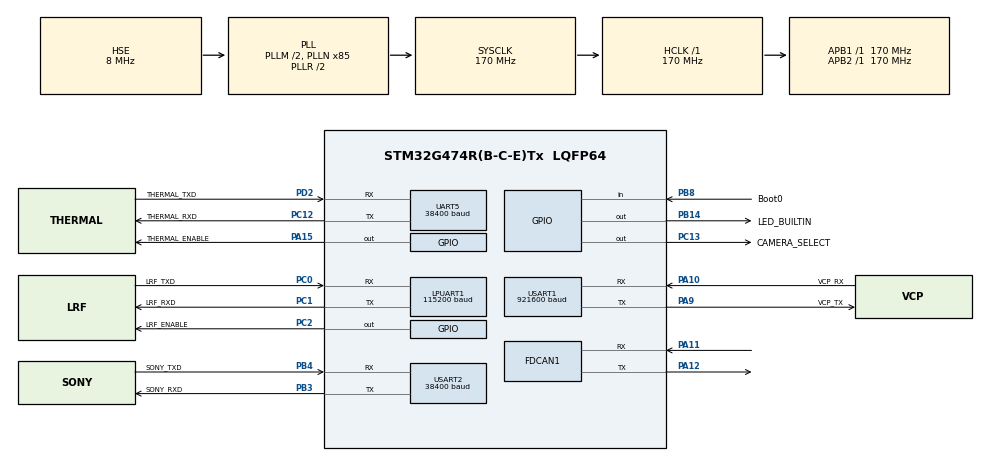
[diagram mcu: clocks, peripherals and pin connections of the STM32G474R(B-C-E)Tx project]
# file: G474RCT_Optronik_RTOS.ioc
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Dma.LPUART1_RX.0.Direction=DMA_PERIPH_TO_MEMORY
Dma.LPUART1_RX.0.EventEnable=DISABLE
Dma.LPUART1_RX.0.Instance=DMA1_Channel1
Dma.LPUART1_RX.0.MemDataAlignment=DMA_MDATAALIGN_BYTE
Dma.LPUART1_RX.0.MemInc=DMA_MINC_ENABLE
Dma.LPUART1_RX.0.Mode=DMA_NORMAL
Dma.LPUART1_RX.0.PeriphDataAlignment=DMA_PDATAALIGN_BYTE
Dma.LPUART1_RX.0.PeriphInc=DMA_PINC_DISABLE
Dma.LPUART1_RX.0.Polarity=HAL_DMAMUX_REQ_GEN_RISING
Dma.LPUART1_RX.0.Priority=DMA_PRIORITY_LOW
Dma.LPUART1_RX.0.RequestNumber=1
Dma.LPUART1_RX.0.SignalID=NONE
Dma.LPUART1_RX.0.SyncEnable=DISABLE
Dma.LPUART1_RX.0.SyncPolarity=HAL_DMAMUX_SYNC_NO_EVENT
Dma.LPUART1_RX.0.SyncRequestNumber=1
Dma.LPUART1_RX.0.SyncSignalID=NONE
Dma.Request0=LPUART1_RX
FDCAN1.ClockDivider=FDCAN_CLOCK_DIV2
FDCAN1.DataSyncJumpWidth=8
FDCAN1.DataTimeSeg1=8
FDCAN1.DataTimeSeg2=8
FDCAN1.ExtFiltersNbr=8
FDCAN1.FrameFormat=FDCAN_FRAME_FD_BRS
FDCAN1.NominalSyncJumpWidth=22
FDCAN1.NominalTimeSeg1=147
FDCAN1.NominalTimeSeg2=22
FDCAN1.StdFiltersNbr=28
FREERTOS.INCLUDE_vTaskDelayUntil=1
FREERTOS.Mutexes01=m_camera_state,Dynamic,NULL;m_lrf_state,Dynamic,NULL
FREERTOS.Queues01=q_camera,6,uint8_t,0,Dynamic,NULL,NULL;q_lrf,6,uint8_t,0,Dynamic,NULL,NULL;q_manager,6,uint16_t,0,Dynamic,NULL,NULL
FREERTOS.Tasks01=TManager,2,256,t_manager,As weak,NULL,Dynamic,NULL,NULL;TBusSend,-2,256,t_bus_send,As external,NULL,Dynamic,NULL,NULL;TCamera,-1,768,t_camera,As external,NULL,Dynamic,NULL,NULL;TLrf,0,512,t_lrf,As external,NULL,Dynamic,NULL,NULL;TBusRecv,1,512,t_bus_recv,As external,NULL,Dynamic,NULL,NULL
FREERTOS.Timers01=cameraNotifTimer,osTimerCameraNotifCallback,osTimerPeriodic,As external,NULL,Dynamic,NULL;cameraTimeoutTimer,osTimerCameraTimeoutCallback,osTimerOnce,As external,NULL,Dynamic,NULL;lrfNotifTimer,osTimerLrfNotifCallback,osTimerPeriodic,As external,NULL,Dynamic,NULL;lrfTimeoutTimer,osTimerLrfTimeoutCallback,osTimerOnce,As external,NULL,Dynamic,NULL
FREERTOS.configTOTAL_HEAP_SIZE=0x10000
FREERTOS.configUSE_TIMERS=1
IWDG.Prescaler=IWDG_PRESCALER_32
IWDG.Reload=2000
IWDG.Window=2000
LPUART1.BaudRate=115200
LPUART1.ClockPrescaler=UART_PRESCALER_DIV1
LPUART1.OverrunDisableParam=UART_ADVFEATURE_OVERRUN_DISABLE
Mcu.Family=STM32G4
Mcu.Name=STM32G474R(B-C-E)Tx
Mcu.Package=LQFP64
NVIC.DMA1_Channel1_IRQn=true\:5\:0\:false\:false\:true\:true\:false\:true\:true
NVIC.FDCAN1_IT0_IRQn=true\:5\:0\:true\:false\:true\:true\:true\:true\:true
NVIC.LPUART1_IRQn=true\:5\:0\:false\:false\:true\:true\:true\:true\:true
NVIC.PriorityGroup=NVIC_PRIORITYGROUP_4
NVIC.TIM20_UP_IRQn=true\:15\:0\:false\:false\:true\:false\:false\:true\:true
NVIC.TimeBase=TIM20_UP_IRQn
NVIC.TimeBaseIP=TIM20
NVIC.UART5_IRQn=true\:5\:0\:false\:false\:false\:true\:true\:true\:true
NVIC.USART2_IRQn=true\:5\:0\:false\:false\:false\:true\:true\:true\:true
PA10.GPIO_Label=VCP_RX
PA10.GPIO_PuPd=GPIO_PULLUP
PA10.GPIO_Speed=GPIO_SPEED_FREQ_VERY_HIGH
PA10.Mode=Asynchronous
PA10.Signal=USART1_RX
PA11.GPIO_PuPd=GPIO_PULLUP
PA11.GPIO_Speed=GPIO_SPEED_FREQ_VERY_HIGH
PA11.Mode=FDCAN_Activate
PA11.Signal=FDCAN1_RX
PA12.GPIO_Speed=GPIO_SPEED_FREQ_VERY_HIGH
PA12.Mode=FDCAN_Activate
PA12.Signal=FDCAN1_TX
PA13.Mode=Serial_Wire
PA13.Signal=SYS_JTMS-SWDIO
PA14.Mode=Serial_Wire
PA14.Signal=SYS_JTCK-SWCLK
PA15.GPIO_Label=THERMAL_ENABLE
PA15.Signal=GPIO_Output
PA2.Signal=QUADSPI1_BK1_NCS
PA3.Signal=QUADSPI1_CLK
PA6.Signal=QUADSPI1_BK1_IO3
PA7.Signal=QUADSPI1_BK1_IO2
PA9.GPIO_Label=VCP_TX
PA9.GPIO_PuPd=GPIO_PULLUP
PA9.GPIO_Speed=GPIO_SPEED_FREQ_VERY_HIGH
PA9.Mode=Asynchronous
PA9.Signal=USART1_TX
PB0.Signal=QUADSPI1_BK1_IO1
PB1.Signal=QUADSPI1_BK1_IO0
PB14.GPIO_Label=LED_BUILTIN
PB14.GPIO_ModeDefaultOutputPP=GPIO_MODE_OUTPUT_PP
PB14.PinState=GPIO_PIN_SET
PB14.Signal=GPIO_Output
PB3.GPIO_Label=SONY_RXD
PB3.GPIO_PuPd=GPIO_NOPULL
PB3.GPIO_Speed=GPIO_SPEED_FREQ_VERY_HIGH
PB3.Mode=Asynchronous
PB3.Signal=USART2_TX
PB4.GPIO_Label=SONY_TXD
PB4.GPIO_PuPd=GPIO_PULLUP
PB4.GPIO_Speed=GPIO_SPEED_FREQ_VERY_HIGH
PB4.Mode=Asynchronous
PB4.Signal=USART2_RX
PB8-BOOT0.GPIO_Label=Boot0
PB8-BOOT0.Signal=GPIO_Input
PC0.GPIO_Label=LRF_TXD
PC0.GPIO_PuPd=GPIO_PULLUP
PC0.GPIO_Speed=GPIO_SPEED_FREQ_HIGH
PC0.Mode=Asynchronous
PC0.Signal=LPUART1_RX
PC1.GPIO_Label=LRF_RXD
PC1.GPIO_PuPd=GPIO_NOPULL
PC1.GPIO_Speed=GPIO_SPEED_FREQ_HIGH
PC1.Mode=Asynchronous
PC1.Signal=LPUART1_TX
PC10.GPIO_Label=IMU_RXD
PC10.GPIO_PuPd=GPIO_PULLUP
PC10.GPIO_Speed=GPIO_SPEED_FREQ_VERY_HIGH
PC10.Signal=UART4_TX
PC11.GPIO_Label=IMU_TXD
PC11.GPIO_PuPd=GPIO_PULLUP
PC11.GPIO_Speed=GPIO_SPEED_FREQ_VERY_HIGH
PC11.Signal=UART4_RX
PC12.GPIO_Label=THERMAL_RXD
PC12.GPIO_PuPd=GPIO_NOPULL
PC12.GPIO_Speed=GPIO_SPEED_FREQ_VERY_HIGH
PC12.Mode=Asynchronous
PC12.Signal=UART5_TX
PC13.GPIO_Label=CAMERA_SELECT
PC13.GPIO_PuPd=GPIO_PULLUP
PC13.Signal=GPIO_Output
PC2.GPIO_Label=LRF_ENABLE
PC2.GPIO_PuPd=GPIO_NOPULL
PC2.PinState=GPIO_PIN_SET
PC2.Signal=GPIO_Output
PD2.GPIO_Label=THERMAL_TXD
PD2.GPIO_PuPd=GPIO_PULLUP
PD2.GPIO_Speed=GPIO_SPEED_FREQ_VERY_HIGH
PD2.Mode=Asynchronous
PD2.Signal=UART5_RX
PF0-OSC_IN.Mode=HSE-External-Oscillator
PF0-OSC_IN.Signal=RCC_OSC_IN
PF1-OSC_OUT.Mode=HSE-External-Oscillator
PF1-OSC_OUT.Signal=RCC_OSC_OUT
ProjectManager.HeapSize=0x200
ProjectManager.StackSize=0x400
ProjectManager.TargetToolchain=STM32CubeIDE
RCC.ADC12Freq_Value=170000000
RCC.ADC345Freq_Value=170000000
RCC.AHBFreq_Value=170000000
RCC.APB1Freq_Value=170000000
RCC.APB1TimFreq_Value=170000000
RCC.APB2Freq_Value=170000000
RCC.APB2TimFreq_Value=170000000
RCC.CortexFreq_Value=170000000
RCC.EXTERNAL_CLOCK_VALUE=12288000
RCC.EnbaleCSS=true
RCC.HCLKFreq_Value=170000000
RCC.HSE_VALUE=8000000
RCC.HSI48_VALUE=48000000
RCC.HSI_VALUE=16000000
RCC.LPUART1CLockSelection=RCC_LPUART1CLKSOURCE_HSI
RCC.LSE_VALUE=32768
RCC.PLLM=RCC_PLLM_DIV2
RCC.PLLN=85
RCC.PLLSourceVirtual=RCC_PLLSOURCE_HSE
RCC.SYSCLKFreq_VALUE=170000000
RCC.SYSCLKSource=RCC_SYSCLKSOURCE_PLLCLK
RCC.USBFreq_Value=170000000
RCC.VCOOutputFreq_Value=340000000
UART5.BaudRate=38400
USART1.BaudRate=921600
USART1.VirtualMode-Asynchronous=VM_ASYNC
USART2.AutoBaudRateEnableParam=UART_ADVFEATURE_AUTOBAUDRATE_DISABLE
USART2.BaudRate=38400
USART2.OneBitSampling=UART_ONE_BIT_SAMPLE_DISABLE
USART2.VirtualMode-Asynchronous=VM_ASYNC
USART2.WordLength=WORDLENGTH_8B
VP_FREERTOS_VS_CMSIS_V1.Mode=CMSIS_V1
VP_IWDG_VS_IWDG.Mode=IWDG_Activate
VP_SYS_VS_DBSignals.Mode=DisableDeadBatterySignals
VP_SYS_VS_tim20.Mode=TIM20
board=custom

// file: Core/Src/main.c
/* USER CODE BEGIN Header */
/**
 ******************************************************************************
 * @file           : main.c
 * @brief          : Main program body
 ******************************************************************************
 * @attention
 *
 * Copyright (c) 2021 STMicroelectronics.
 * All rights reserved.
 *
 * This software is licensed under terms that can be found in the LICENSE file
 * in the root directory of this software component.
 * If no LICENSE file comes with this software, it is provided AS-IS.
 *
 ******************************************************************************
 */
/* USER CODE END Header */
#include "main.h"
#include "cmsis_os.h"
#include "dma.h"
#include "fdcan.h"
#include "iwdg.h"
#include "usart.h"
#include "gpio.h"

/* USER CODE BEGIN Includes */
#include <stdio.h>

#include "app/common.h"
#include "driver/uartTerminal/uartTerminal.h"
/* USER CODE END Includes */

/* USER CODE BEGIN PD */
#if DEBUG_ENABLE==1
/*** Internal Const Values, Macros ***/
#	define LOG(str, ...) printf("[%ld %s:%d] " str, HAL_GetTick(), __FILENAME__, __LINE__, ##__VA_ARGS__)
#	define LOG_E(str, ...) printf("[%s Err:%d] " str, __FILENAME__, __LINE__, ##__VA_ARGS__)
#else
#	define LOG(str, ...)
#	define LOG_E(str, ...)

#endif	//if DEBUG_ENABLE==1

/* USER CODE END PD */

/* USER CODE BEGIN PV */
reset_cause_e g_reset_cause;
/* USER CODE END PV */

void SystemClock_Config(void);
void MX_FREERTOS_Init(void);

/* USER CODE BEGIN 0 */
static reset_cause_e get_reset_source()
{
	reset_cause_e ret = RESET_CAUSE_UNKNOWN;

	if (__HAL_RCC_GET_FLAG(RCC_FLAG_LPWRRST))
		ret = RESET_CAUSE_LOW_POWER_RESET;
	else if (__HAL_RCC_GET_FLAG(RCC_FLAG_WWDGRST))
		ret = RESET_CAUSE_WINDOW_WATCHDOG_RESET;
	else if (__HAL_RCC_GET_FLAG(RCC_FLAG_IWDGRST))
		ret = RESET_CAUSE_INDEPENDENT_WATCHDOG_RESET;
	else if (__HAL_RCC_GET_FLAG(RCC_FLAG_SFTRST))
		/* This reset is induced by calling the ARM CMSIS */
		/* `NVIC_SystemReset()` function! */
		ret = RESET_CAUSE_SOFTWARE_RESET;
	else if (__HAL_RCC_GET_FLAG(RCC_FLAG_PINRST))
		ret = RESET_CAUSE_EXTERNAL_RESET_PIN_RESET;

	return ret;
}

/* USER CODE END 0 */

int main(void)
{
  /* USER CODE BEGIN 1 */
	g_reset_cause = get_reset_source();
	__HAL_RCC_CLEAR_RESET_FLAGS();

  /* USER CODE END 1 */

  /* MCU Configuration--------------------------------------------------------*/

  /* Reset of all peripherals, Initializes the Flash interface and the Systick. */
  HAL_Init();

  /* Configure the system clock */
  SystemClock_Config();

  /* Initialize all configured peripherals */
  MX_GPIO_Init();
  MX_USART1_UART_Init();
  MX_USART2_UART_Init();
  MX_FDCAN1_Init();
  MX_DMA_Init();
  MX_LPUART1_UART_Init();
  MX_UART5_Init();
  MX_IWDG_Init();
  /* USER CODE BEGIN 2 */
	retarget_init();

	LOG("====\r\n");
	LOG("Optronik firmware!\r\n");
	LOG("====\r\n");

	if ((g_reset_cause == RESET_CAUSE_INDEPENDENT_WATCHDOG_RESET)
			|| (g_reset_cause == RESET_CAUSE_SOFTWARE_RESET)) {
		LOG("system is reset from IWDG or s/w reset!\r\n");
	}

	if (g_reset_cause == RESET_CAUSE_EXTERNAL_RESET_PIN_RESET)
		LOG("do you reset this chip?\r\n");

  /* USER CODE END 2 */

  /* Call init function for freertos objects (in freertos.c) */
  MX_FREERTOS_Init();
  /* Start scheduler */
  osKernelStart();

  /* We should never get here as control is now taken by the scheduler */
  /* Infinite loop */
	while (1) {

	}
}

void SystemClock_Config(void)
{
  RCC_OscInitTypeDef RCC_OscInitStruct = {0};
  RCC_ClkInitTypeDef RCC_ClkInitStruct = {0};

  /** Configure the main internal regulator output voltage
  */
  HAL_PWREx_ControlVoltageScaling(PWR_REGULATOR_VOLTAGE_SCALE1_BOOST);
  /** Initializes the RCC Oscillators according to the specified parameters
  * in the RCC_OscInitTypeDef structure.
  */
  RCC_OscInitStruct.OscillatorType = RCC_OSCILLATORTYPE_HSI|RCC_OSCILLATORTYPE_LSI
                              |RCC_OSCILLATORTYPE_HSE;
  RCC_OscInitStruct.HSEState = RCC_HSE_ON;
  RCC_OscInitStruct.HSIState = RCC_HSI_ON;
  RCC_OscInitStruct.HSICalibrationValue = RCC_HSICALIBRATION_DEFAULT;
  RCC_OscInitStruct.LSIState = RCC_LSI_ON;
  RCC_OscInitStruct.PLL.PLLState = RCC_PLL_ON;
  RCC_OscInitStruct.PLL.PLLSource = RCC_PLLSOURCE_HSE;
  RCC_OscInitStruct.PLL.PLLM = RCC_PLLM_DIV2;
  RCC_OscInitStruct.PLL.PLLN = 85;
  RCC_OscInitStruct.PLL.PLLP = RCC_PLLP_DIV2;
  RCC_OscInitStruct.PLL.PLLQ = RCC_PLLQ_DIV2;
  RCC_OscInitStruct.PLL.PLLR = RCC_PLLR_DIV2;
  if (HAL_RCC_OscConfig(&RCC_OscInitStruct) != HAL_OK)
  {
    Error_Handler();
  }
  /** Initializes the CPU, AHB and APB buses clocks
  */
  RCC_ClkInitStruct.ClockType = RCC_CLOCKTYPE_HCLK|RCC_CLOCKTYPE_SYSCLK
                              |RCC_CLOCKTYPE_PCLK1|RCC_CLOCKTYPE_PCLK2;
  RCC_ClkInitStruct.SYSCLKSource = RCC_SYSCLKSOURCE_PLLCLK;
  RCC_ClkInitStruct.AHBCLKDivider = RCC_SYSCLK_DIV1;
  RCC_ClkInitStruct.APB1CLKDivider = RCC_HCLK_DIV1;
  RCC_ClkInitStruct.APB2CLKDivider = RCC_HCLK_DIV1;

  if (HAL_RCC_ClockConfig(&RCC_ClkInitStruct, FLASH_LATENCY_4) != HAL_OK)
  {
    Error_Handler();
  }
  /** Enables the Clock Security System
  */
  HAL_RCC_EnableCSS();
}

void HAL_TIM_PeriodElapsedCallback(TIM_HandleTypeDef *htim)
{
  if (htim->Instance == TIM20) {
    HAL_IncTick();
  }
}

void Error_Handler(void)
{
	__disable_irq();
	while (1) {
	}
}

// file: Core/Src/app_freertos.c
/* USER CODE BEGIN Header */
/**
 ******************************************************************************
 * File Name          : app_freertos.c
 * Description        : Code for freertos applications
 ******************************************************************************
 * @attention
 *
 * Copyright (c) 2021 STMicroelectronics.
 * All rights reserved.
 *
 * This software is licensed under terms that can be found in the LICENSE file
 * in the root directory of this software component.
 * If no LICENSE file comes with this software, it is provided AS-IS.
 *
 ******************************************************************************
 */
/* USER CODE END Header */

#include "FreeRTOS.h"
#include "task.h"
#include "main.h"
#include "cmsis_os.h"

/* USER CODE BEGIN Includes */
#include "app/common.h"
#include "bus_fdcan.h"
/* USER CODE END Includes */

/* USER CODE BEGIN Variables */
osMailQId mail_bus_recv;

/* USER CODE END Variables */
osThreadId TManagerHandle;
osThreadId TBusSendHandle;
osThreadId TCameraHandle;
osThreadId TLrfHandle;
osThreadId TBusRecvHandle;
osMessageQId q_cameraHandle;
osMessageQId q_lrfHandle;
osMessageQId q_managerHandle;
osTimerId cameraNotifTimerHandle;
osTimerId cameraTimeoutTimerHandle;
osTimerId lrfNotifTimerHandle;
osTimerId lrfTimeoutTimerHandle;
osMutexId m_camera_stateHandle;
osMutexId m_lrf_stateHandle;

/* USER CODE BEGIN FunctionPrototypes */
static void mail_set_bus_recv();
/* USER CODE END FunctionPrototypes */

void t_manager(void const *argument);
extern void t_bus_send(void const *argument);
extern void t_camera(void const *argument);
extern void t_lrf(void const *argument);
extern void t_bus_recv(void const *argument);
extern void osTimerCameraNotifCallback(void const *argument);
extern void osTimerCameraTimeoutCallback(void const *argument);
extern void osTimerLrfNotifCallback(void const *argument);
extern void osTimerLrfTimeoutCallback(void const *argument);

void MX_FREERTOS_Init(void); /* (MISRA C 2004 rule 8.1) */

void MX_FREERTOS_Init(void)
{
	/* Create the mutex(es) */
	/* definition and creation of m_camera_state */
	osMutexDef(m_camera_state);
	m_camera_stateHandle = osMutexCreate(osMutex(m_camera_state));

	/* definition and creation of m_lrf_state */
	osMutexDef(m_lrf_state);
	m_lrf_stateHandle = osMutexCreate(osMutex(m_lrf_state));

	/* Create the timer(s) */
	/* definition and creation of cameraNotifTimer */
	osTimerDef(cameraNotifTimer, osTimerCameraNotifCallback);
	cameraNotifTimerHandle = osTimerCreate(osTimer(cameraNotifTimer), osTimerPeriodic, NULL);

	/* definition and creation of cameraTimeoutTimer */
	osTimerDef(cameraTimeoutTimer, osTimerCameraTimeoutCallback);
	cameraTimeoutTimerHandle = osTimerCreate(osTimer(cameraTimeoutTimer), osTimerOnce, NULL);

	/* definition and creation of lrfNotifTimer */
	osTimerDef(lrfNotifTimer, osTimerLrfNotifCallback);
	lrfNotifTimerHandle = osTimerCreate(osTimer(lrfNotifTimer), osTimerPeriodic, NULL);

	/* definition and creation of lrfTimeoutTimer */
	osTimerDef(lrfTimeoutTimer, osTimerLrfTimeoutCallback);
	lrfTimeoutTimerHandle = osTimerCreate(osTimer(lrfTimeoutTimer), osTimerOnce, NULL);

	/* Create the queue(s) */
	/* definition and creation of q_camera */
	osMessageQDef(q_camera, 6, uint8_t);
	q_cameraHandle = osMessageCreate(osMessageQ(q_camera), NULL);

	/* definition and creation of q_lrf */
	osMessageQDef(q_lrf, 6, uint8_t);
	q_lrfHandle = osMessageCreate(osMessageQ(q_lrf), NULL);

	/* definition and creation of q_manager */
	osMessageQDef(q_manager, 6, uint16_t);
	q_managerHandle = osMessageCreate(osMessageQ(q_manager), NULL);

	/* USER CODE BEGIN RTOS_QUEUES */
	/* add queues, ... */
	mail_set_bus_recv();

	/* USER CODE END RTOS_QUEUES */

	/* Create the thread(s) */
	/* definition and creation of TManager */
	osThreadDef(TManager, t_manager, osPriorityHigh, 0, 256);
	TManagerHandle = osThreadCreate(osThread(TManager), NULL);

	/* definition and creation of TBusSend */
	osThreadDef(TBusSend, t_bus_send, osPriorityLow, 0, 256);
	TBusSendHandle = osThreadCreate(osThread(TBusSend), NULL);

	/* definition and creation of TCamera */
	osThreadDef(TCamera, t_camera, osPriorityBelowNormal, 0, 768);
	TCameraHandle = osThreadCreate(osThread(TCamera), NULL);

	/* definition and creation of TLrf */
	osThreadDef(TLrf, t_lrf, osPriorityNormal, 0, 512);
	TLrfHandle = osThreadCreate(osThread(TLrf), NULL);

	/* definition and creation of TBusRecv */
	osThreadDef(TBusRecv, t_bus_recv, osPriorityAboveNormal, 0, 512);
	TBusRecvHandle = osThreadCreate(osThread(TBusRecv), NULL);

}

__weak void t_manager(void const *argument)
{
	for ( ;; ) {
		osDelay(1);
	}
}

/* USER CODE BEGIN Application */
osTimerId opt_get_timer(const Timer_ID tID)
{
	switch (tID)
	{
	case Tim_Camera_Notif_id:
		return cameraNotifTimerHandle;
	case Tim_Camera_Timeout_id:
		return cameraTimeoutTimerHandle;
	case Tim_Lrf_Notif_id:
		return lrfNotifTimerHandle;
	case Tim_Lrf_Timeout_id:
		return lrfTimeoutTimerHandle;
	default:
		return NULL;
	}
}

osMessageQId opt_get_queue(const QUEUE_ID qID)
{
	switch (qID)
	{
	case Q_CAMERA_NOTIF:
		return q_cameraHandle;
	case Q_LRF_NOTIF:
		return q_lrfHandle;
	case Q_MANAGER_NOTIF:
		return q_managerHandle;
	default:
		return 0;
	}
}

osMutexId opt_get_mutex(const MUTEX_ID mID)
{
	switch (mID)
	{
	case M_CAMERA_STATE:
		return m_camera_stateHandle;
	case M_LRF_STATE:
		return m_lrf_stateHandle;
	default:
		return 0;
	}
}

osMailQId opt_get_bus_mail()
{
	return mail_bus_recv;
}

static void mail_set_bus_recv()
{
	/* Create the mail queue used by the bus_recv tasks to pass the struct Bus_Rx_Buffer_t */
	osMailQDef(mail, 5, Bus_Rx_Buffer_t); /* Define mail queue */
	mail_bus_recv = osMailCreate(osMailQ(mail), NULL); /* create mail queue */
}

void HAL_Delay(uint32_t Delay)
{
	osDelay(Delay);
}

/* USER CODE END Application */
